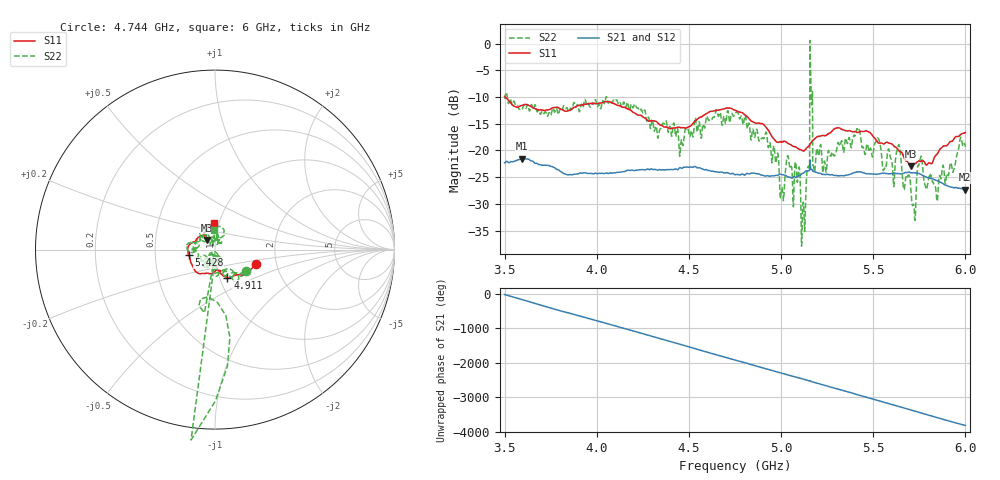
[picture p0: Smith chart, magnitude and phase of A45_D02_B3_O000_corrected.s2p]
! Created with skrf 1.9.0 (http://scikit-rf.org).
# Hz S RI R 50.0
!freq ReS11 ImS11 ReS21 ImS21 ReS12 ImS12 ReS22 ImS22
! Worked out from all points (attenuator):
!   1601 points, 3.5 GHz to 6 GHz, reference 50 ohm
!   highest |S21| = -21.56 dB at 3.594 GHz (marker M1); lowest = -27.3 dB at 5.998 GHz (marker M2)
!   lowest |S11| = -23.0 dB at 5.703 GHz (marker M3), VSWR 1.15, Z = 45.3 + j4.89 ohm
!   |S11| at or under -10 dB: 3.503 GHz to end of sweep
!   |S22| runs from -37.9 to 0.6 dB; largest |S21 - S12| = 0.00092
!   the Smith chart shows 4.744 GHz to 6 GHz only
!   S11 on the Smith chart (normalised r, x): 4.744 GHz: 1.56, -0.26; 4.911 GHz: 1.09, -0.35; 5.428 GHz: 0.74, -0.05; 6 GHz: 0.95, +0.29
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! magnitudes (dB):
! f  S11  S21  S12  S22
! 3.5 GHz  -9.9  -22.3  -22.3  -10.4
! 3.594 GHz  -11.6  -21.6  -21.6  -12.3
! 3.917 GHz  -11.5  -24.3  -24.3  -11.3
! 4.334 GHz  -15.0  -23.7  -23.6  -17.5
! 4.744 GHz  -12.4  -24.4  -24.4  -13.6
! 4.75 GHz  -12.5  -24.5  -24.5  -13.0
! 4.911 GHz  -15.3  -24.8  -24.7  -17.4
! 5.005 GHz  -18.3  -24.5  -24.5  -27.0
! 5.034 GHz  -18.6  -24.9  -24.9  -21.2
! 5.089 GHz  -19.6  -24.9  -24.9  -26.0
! 5.12 GHz  -20.1  -24.3  -24.2  -29.7
! 5.167 GHz  -18.3  -23.6  -23.5  -10.9
! 5.184 GHz  -17.8  -24.0  -23.9  -23.4
! 5.236 GHz  -17.2  -24.5  -24.5  -22.0
! 5.428 GHz  -16.5  -24.0  -23.9  -16.8
! 5.584 GHz  -18.6  -24.4  -24.4  -19.7
! 5.703 GHz  -23.0  -24.2  -24.1  -26.8
! 5.72 GHz  -22.5  -24.2  -24.2  -30.3
! 5.755 GHz  -22.1  -24.4  -24.4  -21.6
! 5.842 GHz  -20.8  -25.6  -25.5  -28.1
! 5.998 GHz  -16.7  -27.3  -27.3  -19.0
! 6 GHz  -16.6  -27.3  -27.3  -19.3
